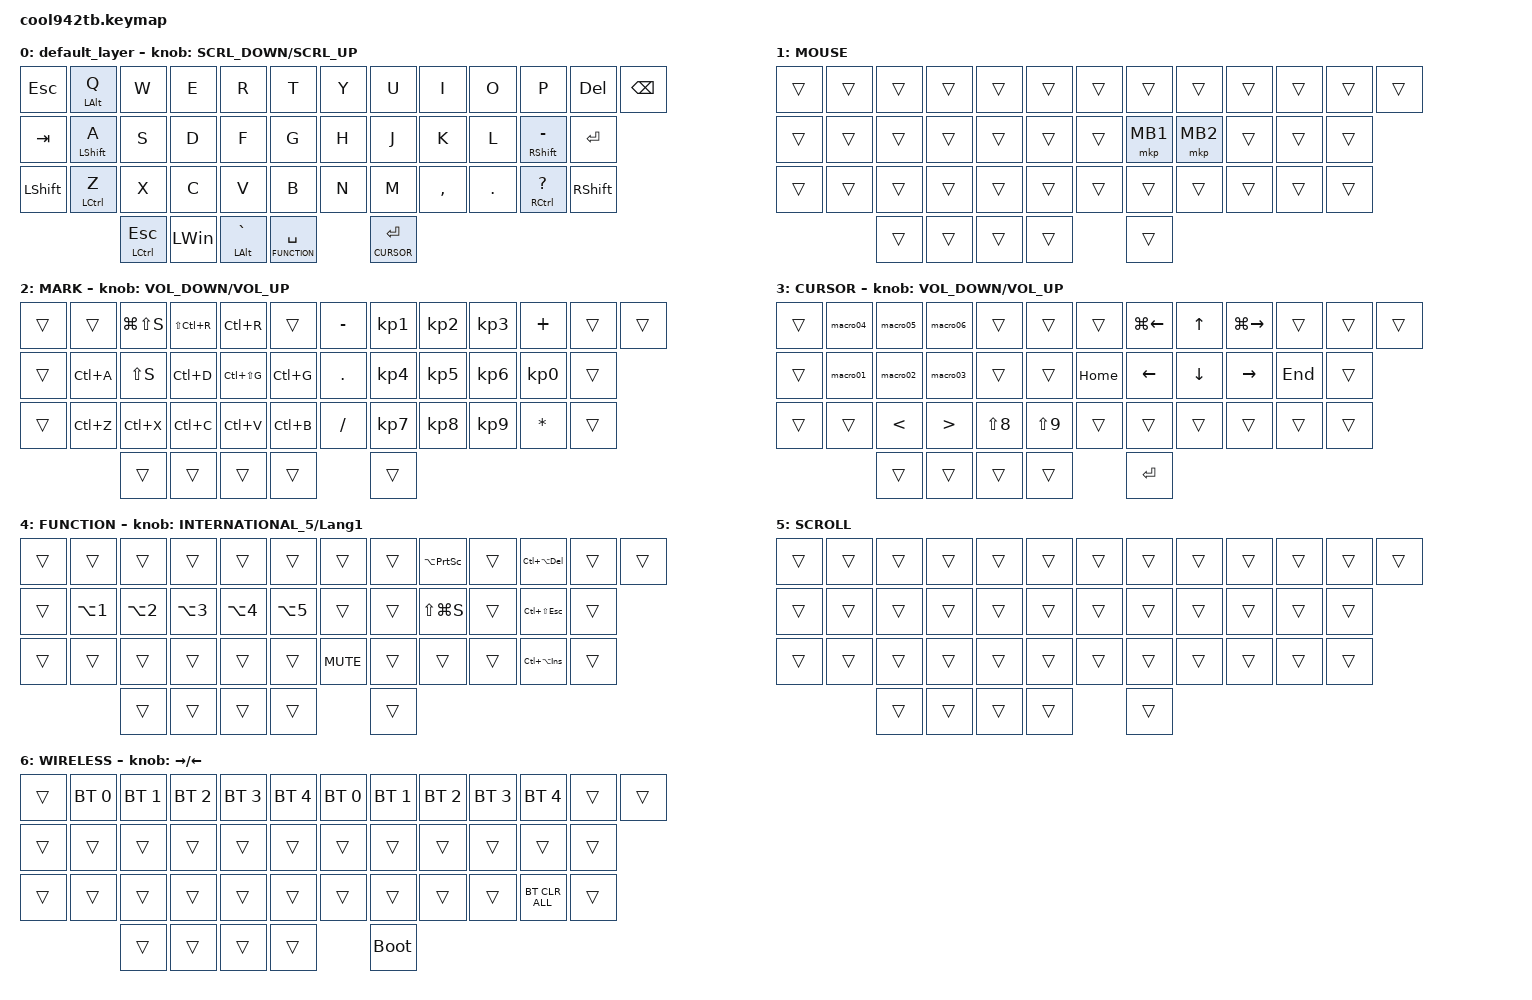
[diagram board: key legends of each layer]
#define ZMK_POINTING_DEFAULT_SCRL_VAL 150

#include <dt-bindings/zmk/input_transform.h>
#include <input/processors.dtsi>
#include <zephyr/dt-bindings/input/input-event-codes.h>
#include <behaviors.dtsi>
#include <dt-bindings/zmk/bt.h>
#include <dt-bindings/zmk/keys.h>
#include <dt-bindings/zmk/pointing.h>

#define MOUSE 1
#define MARK 2
#define CURSOR 3
#define FUNCTION 4
#define SCROLL 5
#define WIRELESS 6

//mouse cursol

&mmv {
    delay-ms = <20>;
    trigger-period-ms = <5>;
    time-to-max-speed-ms = <100>;
    acceleration-exponent = <2>;
};

//mouse scroll

&msc {
    delay-ms = <3>;
    trigger-period-ms = <3>;
    time-to-max-speed-ms = <100>;
    acceleration-exponent = <0>;
};

&mt {
    flavor = "balanced";
    quick-tap-ms = <0>;
};

/ {
    input_processors {
        zip_wheel_scaler: zip_wheel_scaler {
            compatible = "zmk,input-processor-scaler";
            #input-processor-cells = <2>;
            type = <INPUT_EV_REL>;
            codes = <INPUT_REL_WHEEL>;
            track-remainders;
        };
    };
};

&msc_input_listener {
    speed_up {
        layers = <FUNCTION>;
        input-processors = <&zip_wheel_scaler 3 1>; //スクロールを3倍速にする
    };
};

&trackball_listener {
    scroller {
        layers = <SCROLL>;
        input-processors =
            <&zip_xy_transform INPUT_TRANSFORM_Y_INVERT>,
            //スクロール方向を逆転
            <&zip_xy_to_scroll_mapper>;
    };
};

/ {
    combos {
        compatible = "zmk,combos";

        ZenkakuHankaku {
            bindings = <&kp GRAVE>;
            key-positions = <40 41>;
        };

        DeleteKey {
            bindings = <&kp DEL>;
            key-positions = <20 21>;
        };
    };

    behaviors {
        re_kp: sensor_rotate_kp {
            compatible = "zmk,behavior-sensor-rotate-var";
            #sensor-binding-cells = <2>;
            bindings = <&kp>, <&kp>;
        };

        mouse_scrl: mouse_wheel_scrl {
            compatible = "zmk,behavior-sensor-rotate-var";
            #sensor-binding-cells = <2>;
            bindings = <&msc>, <&msc>;

            tap-ms = <20>;
        };
    };

    macros {
        macro01: macro01 {
            compatible = "zmk,behavior-macro";
            #binding-cells = <0>;
            bindings = <&kp LS(I) &kp LS(Q) &kp LS(V) &kp LS(I) &kp LS(A)>;
            label = "MACRO01";
        };

        macro02: macro02 {
            compatible = "zmk,behavior-macro";
            #binding-cells = <0>;
            bindings = <&kp LS(C) &kp LS(S) &kp LS(M) &kp LS(S)>;
            label = "MACRO02";
        };

        macro03: macro03 {
            compatible = "zmk,behavior-macro";
            #binding-cells = <0>;
            bindings = <&kp LS(M) &kp E &kp D &kp LS(T) &kp E &kp C &kp H &kp KP_NUMBER_2>;
            label = "MACRO03";
        };

        macro04: macro04 {
            compatible = "zmk,behavior-macro";
            #binding-cells = <0>;
            bindings = <&kp LS(A) &kp LS(S) &kp SPACE &kp LS(C) &kp O &kp N &kp N &kp E &kp C &kp T>;
            label = "MACRO04";
        };

        macro05: macro05 {
            compatible = "zmk,behavior-macro";
            #binding-cells = <0>;
            bindings = <&kp LS(S) &kp LS(H) &kp LS(D) &kp SPACE &kp LS(E) &kp C &kp H &kp O &kp SPACE &kp LS(L) &kp A &kp B &kp DOT>;
            label = "MACRO05";
        };

        macro06: macro06 {
            compatible = "zmk,behavior-macro";
            #binding-cells = <0>;
            bindings = <&kp KP_NUMBER_1 &kp O &kp N &kp KP_NUMBER_1>;
            label = "MACRO06";
        };
    };

    keymap {
        compatible = "zmk,keymap";

        default_layer {
            bindings = <
&kp ESC     &mt LEFT_ALT Q      &kp W   &kp E         &kp R               &kp T          &kp Y        &kp U  &kp I      &kp O    &kp P                    &kp DEL    &kp BSPC
&kp TAB     &mt LEFT_SHIFT A    &kp S   &kp D         &kp F               &kp G          &kp H        &kp J  &kp K      &kp L    &mt RIGHT_SHIFT MINUS    &kp ENTER
&kp LSHIFT  &mt LEFT_CONTROL Z  &kp X   &kp C         &kp V               &kp B          &kp N        &kp M  &kp COMMA  &kp DOT  &mt RIGHT_CONTROL QMARK  &kp RSHIFT
                                &mt LCTRL ESC  &kp LEFT_WIN  &mt LEFT_ALT GRAVE  &lt FUNCTION SPACE  &lt CURSOR ENTER
            >;

            sensor-bindings = <&mouse_scrl SCRL_DOWN SCRL_UP>;
        };

        //1

        MOUSE {
            bindings = <
&trans  &trans  &trans  &trans  &trans  &trans  &trans  &trans    &trans    &trans  &trans  &trans  &trans
&trans  &trans  &trans  &trans  &trans  &trans  &trans  &mkp MB1  &mkp MB2  &trans  &trans  &trans
&trans  &trans  &trans  &trans  &trans  &trans  &trans  &trans    &trans    &trans  &trans  &trans
                &trans  &trans  &trans  &trans  &trans
            >;
        };

        //2

        MARK {
            bindings = <
&trans  &trans     &kp LG(LS(S))  &kp LS(LC(R))  &kp LC(R)      &trans         &kp MINUS  &kp KP_NUMBER_1  &kp KP_NUMBER_2  &kp KP_NUMBER_3  &kp PLUS          &trans  &trans
&trans  &kp LC(A)  &kp LS(S)      &kp LC(D)      &kp LC(LS(G))  &kp LC(G)      &kp DOT    &kp KP_NUMBER_4  &kp KP_NUMBER_5  &kp KP_NUMBER_6  &kp KP_NUMBER_0   &trans
&trans  &kp LC(Z)  &kp LC(X)      &kp LC(C)      &kp LC(V)      &kp LC(B)      &kp SLASH  &kp KP_NUMBER_7  &kp KP_NUMBER_8  &kp KP_NUMBER_9  &kp ASTERISK      &trans
                   &trans         &trans         &trans         &trans         &trans
            >;

            sensor-bindings = <&re_kp C_VOLUME_DOWN C_VOLUME_UP>;
        };

        //3

        CURSOR {
            bindings = <
&trans  &macro04  &macro05       &macro06          &trans      &trans      &trans    &kp LG(LEFT_ARROW)  &kp UP_ARROW    &kp LG(RIGHT_ARROW)  &trans  &trans  &trans
&trans  &macro01  &macro02       &macro03          &trans      &trans      &kp HOME  &kp LEFT_ARROW      &kp DOWN_ARROW  &kp RIGHT_ARROW      &kp END  &trans
&trans  &trans    &kp LESS_THAN  &kp GREATER_THAN  &kp LS(N8)  &kp LS(N9)  &trans    &trans              &trans          &trans               &trans  &trans
                  &trans         &trans            &trans      &trans      &kp ENTER
            >;

            sensor-bindings = <&inc_dec_kp C_VOLUME_DOWN C_VOLUME_UP>;
        };

        //4

        FUNCTION {
            bindings = <
&trans  &trans            &trans            &trans            &trans            &trans            &trans      &trans  &kp LA(PRINTSCREEN)  &trans  &kp LC(LA(DELETE))   &trans  &trans
&trans  &kp LA(NUMBER_1)  &kp LA(NUMBER_2)  &kp LA(NUMBER_3)  &kp LA(NUMBER_4)  &kp LA(NUMBER_5)  &trans      &trans  &kp LS(LG(S))        &trans  &kp LC(LS(ESCAPE))   &trans
&trans  &trans            &trans            &trans            &trans            &trans            &kp C_MUTE  &trans  &trans               &trans  &kp LC(LA(INS))      &trans
                          &trans            &trans            &trans            &trans            &trans
            >;

            sensor-bindings = <&re_kp INTERNATIONAL_5 LANGUAGE_1>;
        };

        //5

        SCROLL {
            bindings = <
&trans  &trans  &trans  &trans  &trans  &trans  &trans  &trans  &trans  &trans  &trans  &trans  &trans
&trans  &trans  &trans  &trans  &trans  &trans  &trans  &trans  &trans  &trans  &trans  &trans
&trans  &trans  &trans  &trans  &trans  &trans  &trans  &trans  &trans  &trans  &trans  &trans
                &trans  &trans  &trans  &trans  &trans
            >;
        };

        //6

        WIRELESS {
            bindings = <
&trans  &bt BT_SEL 0  &bt BT_SEL 1  &bt BT_SEL 2  &bt BT_SEL 3  &bt BT_SEL 4  &bt BT_SEL 0    &bt BT_SEL 1  &bt BT_SEL 2  &bt BT_SEL 3  &bt BT_SEL 4    &trans  &trans
&trans  &trans        &trans        &trans        &trans        &trans        &trans          &trans        &trans        &trans        &trans          &trans
&trans  &trans        &trans        &trans        &trans        &trans        &trans          &trans        &trans        &trans        &bt BT_CLR_ALL  &trans
                      &trans        &trans        &trans        &trans        &bootloader
            >;

            sensor-bindings = <&inc_dec_kp RIGHT_ARROW LEFT_ARROW>;
        };
    };
};
